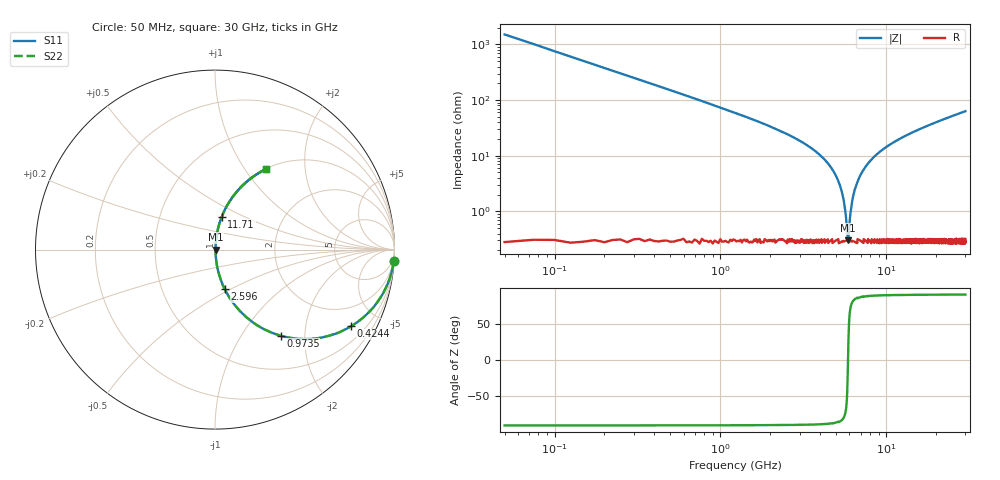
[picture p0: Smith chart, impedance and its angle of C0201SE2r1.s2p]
!	AVX Thin Film Operation 	Date: April 2014
!	Description: Accu-P® Series, Thin Film  SMD RF Capacitor
!	Part Number: 02013J2R1QBSTR
# MHZ S MA R 50
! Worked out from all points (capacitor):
!   1201 points, 50 MHz to 30 GHz, reference 50 ohm
!   read as one part in series: C = 2.1 pF near 199.8 MHz
!   lowest |Z| = 300 mohm at 5.89 GHz (marker M1)
!   series resonance near 5.881 GHz, so ESL is about 350 pH
!   S11 on the Smith chart (normalised r, x): 50 MHz: 1, -30; 424.4 MHz: 1.00, -3.55; 973.5 MHz: 1.01, -1.52; 2.596 GHz: 1.01, -0.47; 11.71 GHz: 1.01, +0.38; 30 GHz: 1.01, +1.26
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50  0.998 -3.8  0.066 86.2  0.066 86.2  0.998 -3.8
249.667  0.949 -18.3  0.313 71.7  0.313 71.7  0.949 -18.3
424.375  0.871 -29.4  0.49 60.6  0.49 60.6  0.871 -29.4
973.458  0.603 -52.7  0.796 37.1  0.796 37.1  0.603 -52.7
1622.375  0.395 -66.3  0.916 23.3  0.916 23.3  0.395 -66.3
2595.75  0.228 -76.1  0.971 13.2  0.971 13.2  0.228 -76.1
4143.167  0.092 -82.9  0.993 5.2  0.993 5.2  0.092 -82.9
5041.667  0.04 -83.5  0.996 2.3  0.996 2.3  0.04 -83.5
5465.958  0.019 -80.1  0.997 1.1  0.997 1.1  0.019 -80.1
5790.417  0.004934 -53.5  0.997 0.2  0.997 0.2  0.004934 -53.5
5890.25  0.002951 8.1  0.997 -0.0  0.997 -0.0  0.002951 8.1
5990.083  0.005566 58.1  0.997 -0.3  0.997 -0.3  0.005566 58.1
6164.792  0.012 75.8  0.997 -0.7  0.997 -0.7  0.012 75.8
6364.458  0.021 80.7  0.997 -1.2  0.997 -1.2  0.021 80.7
7013.375  0.046 83.7  0.996 -2.6  0.996 -2.6  0.046 83.7
8261.292  0.089 83.0  0.993 -5.1  0.993 -5.1  0.089 83.0
10058.29  0.143 80.6  0.987 -8.2  0.987 -8.2  0.143 80.6
11705.54  0.188 78.3  0.979 -10.8  0.979 -10.8  0.188 78.3
15025  0.268 73.9  0.961 -15.5  0.961 -15.5  0.268 73.9
20016.67  0.371 67.8  0.926 -21.8  0.926 -21.8  0.371 67.8
25033.29  0.459 62.3  0.886 -27.3  0.886 -27.3  0.459 62.3
30000  0.533 57.5  0.843 -32.2  0.843 -32.2  0.533 57.5
